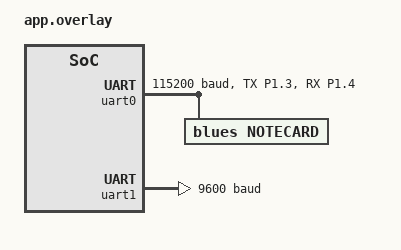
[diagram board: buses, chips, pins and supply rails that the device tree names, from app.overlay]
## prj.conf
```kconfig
CONFIG_GPIO=y
CONFIG_LOG=y
CONFIG_CONSOLE=y

CONFIG_NEWLIB_LIBC=y
CONFIG_NEWLIB_LIBC_FLOAT_PRINTF=y

CONFIG_LOG_MODE_IMMEDIATE=y
CONFIG_LOG_BACKEND_SHOW_COLOR=y

CONFIG_USE_SEGGER_RTT=y
CONFIG_RTT_CONSOLE=y
CONFIG_UART_CONSOLE=n
CONFIG_LOG_BACKEND_UART=n

CONFIG_MAIN_STACK_SIZE=4096

CONFIG_DEBUG_OPTIMIZATIONS=y
CONFIG_DEBUG_THREAD_INFO=y
CONFIG_DEBUG_INFO=y
```

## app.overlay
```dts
&pinctrl {
	uart0_default: uart0_default {
		group1 {
			psels = <NRF_PSEL(UART_TX, 1, 3)>;
		};
		group2 {
			psels = <NRF_PSEL(UART_RX, 1, 4)>;
			bias-pull-up;
		};
	};

	uart0_sleep: uart0_sleep {
		group1 {
			psels = <NRF_PSEL(UART_TX, 1, 3)>,
				<NRF_PSEL(UART_RX, 1, 4)>;
			low-power-enable;
		};
	};
};

&uart0 {
	compatible = "nordic,nrf-uarte";
	current-speed = <115200>;
	pinctrl-0 = <&uart0_default>;
	pinctrl-1 = <&uart0_sleep>;
	pinctrl-names = "default", "sleep";

	notecard: notecard {
		compatible = "blues,notecard";
	};
};

&uart1 {
	compatible = "nordic,nrf-uarte";
	current-speed = <9600>;
};
```

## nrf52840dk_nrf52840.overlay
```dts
&pinctrl {
	uart0_default: uart0_default {
		group1 {
			psels = <NRF_PSEL(UART_TX, 1, 3)>;
		};
		group2 {
			psels = <NRF_PSEL(UART_RX, 1, 4)>;
			bias-pull-up;
		};
	};

	uart0_sleep: uart0_sleep {
		group1 {
			psels = <NRF_PSEL(UART_TX, 1, 3)>,
				<NRF_PSEL(UART_RX, 1, 4)>;
			low-power-enable;
		};
	};
};

&uart0 {
	compatible = "nordic,nrf-uarte";
	current-speed = <115200>;
	pinctrl-0 = <&uart0_default>;
	pinctrl-1 = <&uart0_sleep>;
	pinctrl-names = "default", "sleep";

	notecard: notecard {
		compatible = "irnas,notecard";
	};
};

&uart1 {
	compatible = "nordic,nrf-uarte";
	current-speed = <9600>;
};
```

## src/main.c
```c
/** @file main.c
 *
 * @par
 * COPYRIGHT NOTICE: (c) 2022 Irnas. All rights reserved.
 * Author: Marko Sagadin <marko@irnas.eu>
 */

#include <notecard.h>

#include <note.h>

#include <zephyr/device.h>
#include <zephyr/kernel.h>
#include <zephyr/logging/log.h>

#include <stdlib.h>

LOG_MODULE_REGISTER(main);

const struct device *notecard_dev = DEVICE_DT_GET(DT_NODELABEL(notecard));

void main(void)
{
	LOG_INF("Booted");

	/* Create a request */
	while (1) {
		notecard_ctrl_take(notecard_dev);
		J *req = NoteNewRequest("card.version");
		J *rsp = NoteRequestResponse(req);
		char *rsp_str = JPrint(rsp);
		if (rsp) {
			LOG_INF("%s", rsp_str);
		} else {
			LOG_INF("No response");
		}
		NoteDeleteResponse(rsp);
		NoteFree(rsp_str);
		notecard_ctrl_release(notecard_dev);
		k_msleep(5000);
	}
}
```
